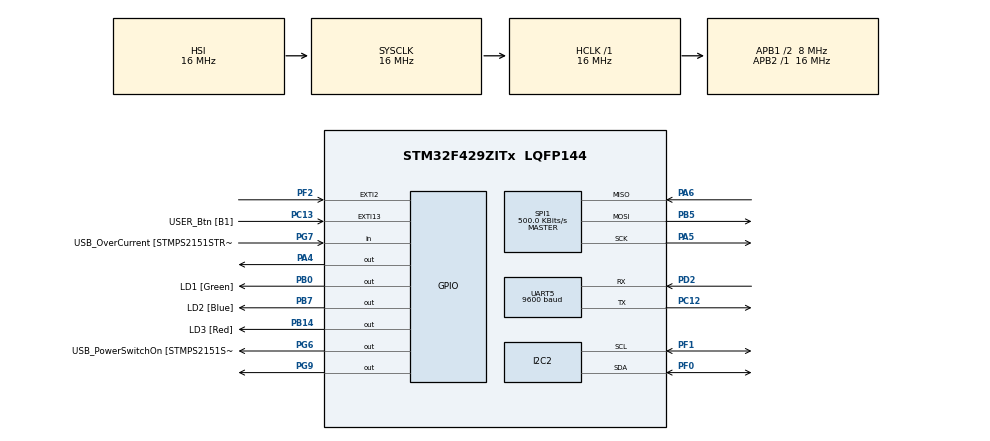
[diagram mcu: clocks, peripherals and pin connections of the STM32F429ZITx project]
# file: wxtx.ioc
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FREERTOS.Queues01=gpsToCore,3,14,1,Dynamic,NULL,NULL;thpToCore,3,6,1,Dynamic,NULL,NULL;coreToRadio,3,24,1,Dynamic,NULL,NULL
FREERTOS.Tasks01=coreTask,16,128,StartCoreTask,Default,NULL,Dynamic,NULL,NULL;radioTask,16,128,StartRadioTask,Default,NULL,Dynamic,NULL,NULL;thpTask,16,128,StartTHPTask,Default,NULL,Dynamic,NULL,NULL;gpsTask,16,128,StartGPSTask,Default,NULL,Dynamic,NULL,NULL
Mcu.Family=STM32F4
Mcu.Name=STM32F429ZITx
Mcu.Package=LQFP144
NVIC.PriorityGroup=NVIC_PRIORITYGROUP_4
NVIC.TIM7_IRQn=true\:0\:0\:false\:false\:true\:false\:false\:true
NVIC.TimeBase=TIM7_IRQn
NVIC.TimeBaseIP=TIM7
PA1.GPIO_Label=RMII_REF_CLK [LAN8742A-CZ-TR_REFCLK0]
PA1.Signal=ETH_REF_CLK
PA10.GPIO_Label=USB_ID
PA10.Signal=USB_OTG_FS_ID
PA11.GPIO_Label=USB_DM
PA11.Signal=USB_OTG_FS_DM
PA12.GPIO_Label=USB_DP
PA12.Signal=USB_OTG_FS_DP
PA13.GPIO_Label=TMS
PA13.Signal=SYS_JTMS-SWDIO
PA14.GPIO_Label=TCK
PA14.Signal=SYS_JTCK-SWCLK
PA2.GPIO_Label=RMII_MDIO [LAN8742A-CZ-TR_MDIO]
PA2.Signal=ETH_MDIO
PA4.Signal=GPIO_Output
PA5.Mode=Full_Duplex_Master
PA5.Signal=SPI1_SCK
PA6.GPIO_PuPd=GPIO_PULLDOWN
PA6.Mode=Full_Duplex_Master
PA6.Signal=SPI1_MISO
PA7.GPIO_Label=RMII_CRS_DV [LAN8742A-CZ-TR_CRS_DV]
PA7.Signal=ETH_CRS_DV
PA8.GPIO_Label=USB_SOF [TP1]
PA8.Signal=USB_OTG_FS_SOF
PA9.GPIO_Label=USB_VBUS
PA9.Signal=USB_OTG_FS_VBUS
PB0.GPIO_Label=LD1 [Green]
PB0.Signal=GPIO_Output
PB13.GPIO_Label=RMII_TXD1 [LAN8742A-CZ-TR_TXD1]
PB13.Signal=ETH_TXD1
PB14.GPIO_Label=LD3 [Red]
PB14.Signal=GPIO_Output
PB5.Mode=Full_Duplex_Master
PB5.Signal=SPI1_MOSI
PB7.GPIO_Label=LD2 [Blue]
PB7.Signal=GPIO_Output
PC1.GPIO_Label=RMII_MDC [LAN8742A-CZ-TR_MDC]
PC1.Signal=ETH_MDC
PC12.Mode=Asynchronous
PC12.Signal=UART5_TX
PC13.GPIO_Label=USER_Btn [B1]
PC13.Signal=GPXTI13
PC14/OSC32_IN.Signal=RCC_OSC32_IN
PC15/OSC32_OUT.Signal=RCC_OSC32_OUT
PC4.GPIO_Label=RMII_RXD0 [LAN8742A-CZ-TR_RXD0]
PC4.Signal=ETH_RXD0
PC5.GPIO_Label=RMII_RXD1 [LAN8742A-CZ-TR_RXD1]
PC5.Signal=ETH_RXD1
PD2.Mode=Asynchronous
PD2.Signal=UART5_RX
PD8.GPIO_Label=STLK_RX [STM32F103CBT6_PA3]
PD8.Signal=USART3_TX
PD9.GPIO_Label=STLK_TX [STM32F103CBT6_PA2]
PD9.Signal=USART3_RX
PF0.Mode=I2C
PF0.Signal=I2C2_SDA
PF1.Mode=I2C
PF1.Signal=I2C2_SCL
PF2.Signal=GPXTI2
PG11.GPIO_Label=RMII_TX_EN [LAN8742A-CZ-TR_TXEN]
PG11.Signal=ETH_TX_EN
PG13.GPIO_Label=RMII_TXD0 [LAN8742A-CZ-TR_TXD0]
PG13.Signal=ETH_TXD0
PG6.GPIO_Label=USB_PowerSwitchOn [STMPS2151STR_EN]
PG6.Signal=GPIO_Output
PG7.GPIO_Label=USB_OverCurrent [STMPS2151STR_FAULT]
PG7.Signal=GPIO_Input
PG9.Signal=GPIO_Output
PH0/OSC_IN.GPIO_Label=MCO [STM32F103CBT6_PA8]
PH0/OSC_IN.Signal=RCC_OSC_IN
PH1/OSC_OUT.Signal=RCC_OSC_OUT
ProjectManager.HeapSize=0x200
ProjectManager.StackSize=0x400
ProjectManager.TargetToolchain=STM32CubeIDE
RCC.48MHZClocksFreq_Value=48000000
RCC.AHBFreq_Value=16000000
RCC.APB1CLKDivider=RCC_HCLK_DIV2
RCC.APB1Freq_Value=8000000
RCC.APB1TimFreq_Value=16000000
RCC.APB2Freq_Value=16000000
RCC.APB2TimFreq_Value=16000000
RCC.CortexFreq_Value=16000000
RCC.HCLKFreq_Value=16000000
RCC.HSE_VALUE=8000000
RCC.HSI_VALUE=16000000
RCC.LSE_VALUE=32768
RCC.PLLMUL=RCC_PLL_MUL9
RCC.PRESCALERUSB=RCC_USBCLKSOURCE_PLL_DIV1_5
RCC.SYSCLKFreq_VALUE=16000000
RCC.SYSCLKSourceVirtual=RCC_SYSCLKSOURCE_PLLCLK
RCC.USBFreq_Value=48000000
RCC.VCOOutputFreq_Value=192000000
SPI1.BaudRatePrescaler=SPI_BAUDRATEPRESCALER_32
SPI1.CalculateBaudRate=500.0 KBits/s
SPI1.Direction=SPI_DIRECTION_2LINES
SPI1.Mode=SPI_MODE_MASTER
SPI1.VirtualType=VM_MASTER
UART5.BaudRate=9600
UART5.VirtualMode=Asynchronous
VP_FREERTOS_VS_CMSIS_V2.Mode=CMSIS_V2
VP_RTC_VS_RTC_Activate.Mode=RTC_Enabled
VP_RTC_VS_RTC_Calendar.Mode=RTC_Calendar
VP_SYS_VS_tim7.Mode=TIM7
board=NUCLEO-F429ZI

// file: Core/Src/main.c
/* USER CODE BEGIN Header */
/**
  ******************************************************************************
  * @file           : main.c
  * @brief          : Main program body
  ******************************************************************************
  * @attention
  *
  * <h2><center>&copy; Copyright (c) 2020 STMicroelectronics.
  * All rights reserved.</center></h2>
  *
  * This software component is licensed by ST under BSD 3-Clause license,
  * the "License"; You may not use this file except in compliance with the
  * License. You may obtain a copy of the License at:
  *                        opensource.org/licenses/BSD-3-Clause
  *
  ******************************************************************************
  */
/* USER CODE END Header */

#include "main.h"
#include "cmsis_os.h"

/* USER CODE BEGIN Includes */
#include "core.h"
#include "radio.h"
#include "thp.h"
#include "gps.h"
/* USER CODE END Includes */

I2C_HandleTypeDef hi2c2;

RTC_HandleTypeDef hrtc;

SPI_HandleTypeDef hspi1;

UART_HandleTypeDef huart5;

/* Definitions for coreTask */
osThreadId_t coreTaskHandle;
const osThreadAttr_t coreTask_attributes = {
  .name = "coreTask",
  .priority = (osPriority_t) osPriorityBelowNormal,
  .stack_size = 128 * 4
};
/* Definitions for radioTask */
osThreadId_t radioTaskHandle;
const osThreadAttr_t radioTask_attributes = {
  .name = "radioTask",
  .priority = (osPriority_t) osPriorityBelowNormal,
  .stack_size = 128 * 4
};
/* Definitions for thpTask */
osThreadId_t thpTaskHandle;
const osThreadAttr_t thpTask_attributes = {
  .name = "thpTask",
  .priority = (osPriority_t) osPriorityBelowNormal,
  .stack_size = 128 * 4
};
/* Definitions for gpsTask */
osThreadId_t gpsTaskHandle;
const osThreadAttr_t gpsTask_attributes = {
  .name = "gpsTask",
  .priority = (osPriority_t) osPriorityBelowNormal,
  .stack_size = 128 * 4
};
/* Definitions for gpsToCore */
osMessageQueueId_t gpsToCoreHandle;
const osMessageQueueAttr_t gpsToCore_attributes = {
  .name = "gpsToCore"
};
/* Definitions for thpToCore */
osMessageQueueId_t thpToCoreHandle;
const osMessageQueueAttr_t thpToCore_attributes = {
  .name = "thpToCore"
};
/* Definitions for coreToRadio */
osMessageQueueId_t coreToRadioHandle;
const osMessageQueueAttr_t coreToRadio_attributes = {
  .name = "coreToRadio"
};

void SystemClock_Config(void);
static void MX_GPIO_Init(void);
static void MX_I2C2_Init(void);
static void MX_RTC_Init(void);
static void MX_SPI1_Init(void);
static void MX_UART5_Init(void);
void StartCoreTask(void *argument);
void StartRadioTask(void *argument);
void StartTHPTask(void *argument);
void StartGPSTask(void *argument);

int main(void)
{

  /* MCU Configuration--------------------------------------------------------*/

  /* Reset of all peripherals, Initializes the Flash interface and the Systick. */
  HAL_Init();

  /* Configure the system clock */
  SystemClock_Config();

  /* Initialize all configured peripherals */
  MX_GPIO_Init();
  MX_I2C2_Init();
  MX_RTC_Init();
  MX_SPI1_Init();
  MX_UART5_Init();

  /* Init scheduler */
  osKernelInitialize();

  /* Create the queue(s) */
  /* creation of gpsToCore */
  gpsToCoreHandle = osMessageQueueNew (3, 14, &gpsToCore_attributes);

  /* creation of thpToCore */
  thpToCoreHandle = osMessageQueueNew (3, 6, &thpToCore_attributes);

  /* creation of coreToRadio */
  coreToRadioHandle = osMessageQueueNew (3, 24, &coreToRadio_attributes);

  /* Create the thread(s) */
  /* creation of coreTask */
  coreTaskHandle = osThreadNew(StartCoreTask, NULL, &coreTask_attributes);

  /* creation of radioTask */
  radioTaskHandle = osThreadNew(StartRadioTask, NULL, &radioTask_attributes);

  /* creation of thpTask */
  thpTaskHandle = osThreadNew(StartTHPTask, NULL, &thpTask_attributes);

  /* creation of gpsTask */
  gpsTaskHandle = osThreadNew(StartGPSTask, NULL, &gpsTask_attributes);

  /* Start scheduler */
  osKernelStart();

  /* We should never get here as control is now taken by the scheduler */
  /* Infinite loop */
  while (1)
  {

  }
}

void SystemClock_Config(void)
{
  RCC_OscInitTypeDef RCC_OscInitStruct = {0};
  RCC_ClkInitTypeDef RCC_ClkInitStruct = {0};
  RCC_PeriphCLKInitTypeDef PeriphClkInitStruct = {0};

  /** Configure the main internal regulator output voltage
  */
  __HAL_RCC_PWR_CLK_ENABLE();
  __HAL_PWR_VOLTAGESCALING_CONFIG(PWR_REGULATOR_VOLTAGE_SCALE3);
  /** Initializes the CPU, AHB and APB busses clocks
  */
  RCC_OscInitStruct.OscillatorType = RCC_OSCILLATORTYPE_HSI|RCC_OSCILLATORTYPE_LSI;
  RCC_OscInitStruct.HSIState = RCC_HSI_ON;
  RCC_OscInitStruct.HSICalibrationValue = RCC_HSICALIBRATION_DEFAULT;
  RCC_OscInitStruct.LSIState = RCC_LSI_ON;
  RCC_OscInitStruct.PLL.PLLState = RCC_PLL_NONE;
  if (HAL_RCC_OscConfig(&RCC_OscInitStruct) != HAL_OK)
  {
    Error_Handler();
  }
  /** Initializes the CPU, AHB and APB busses clocks
  */
  RCC_ClkInitStruct.ClockType = RCC_CLOCKTYPE_HCLK|RCC_CLOCKTYPE_SYSCLK
                              |RCC_CLOCKTYPE_PCLK1|RCC_CLOCKTYPE_PCLK2;
  RCC_ClkInitStruct.SYSCLKSource = RCC_SYSCLKSOURCE_HSI;
  RCC_ClkInitStruct.AHBCLKDivider = RCC_SYSCLK_DIV1;
  RCC_ClkInitStruct.APB1CLKDivider = RCC_HCLK_DIV2;
  RCC_ClkInitStruct.APB2CLKDivider = RCC_HCLK_DIV1;

  if (HAL_RCC_ClockConfig(&RCC_ClkInitStruct, FLASH_LATENCY_0) != HAL_OK)
  {
    Error_Handler();
  }
  PeriphClkInitStruct.PeriphClockSelection = RCC_PERIPHCLK_RTC;
  PeriphClkInitStruct.RTCClockSelection = RCC_RTCCLKSOURCE_LSI;
  if (HAL_RCCEx_PeriphCLKConfig(&PeriphClkInitStruct) != HAL_OK)
  {
    Error_Handler();
  }
}

static void MX_I2C2_Init(void)
{

  hi2c2.Instance = I2C2;
  hi2c2.Init.ClockSpeed = 100000;
  hi2c2.Init.DutyCycle = I2C_DUTYCYCLE_2;
  hi2c2.Init.OwnAddress1 = 0;
  hi2c2.Init.AddressingMode = I2C_ADDRESSINGMODE_7BIT;
  hi2c2.Init.DualAddressMode = I2C_DUALADDRESS_DISABLE;
  hi2c2.Init.OwnAddress2 = 0;
  hi2c2.Init.GeneralCallMode = I2C_GENERALCALL_DISABLE;
  hi2c2.Init.NoStretchMode = I2C_NOSTRETCH_DISABLE;
  if (HAL_I2C_Init(&hi2c2) != HAL_OK)
  {
    Error_Handler();
  }
  /** Configure Analogue filter
  */
  if (HAL_I2CEx_ConfigAnalogFilter(&hi2c2, I2C_ANALOGFILTER_ENABLE) != HAL_OK)
  {
    Error_Handler();
  }
  /** Configure Digital filter
  */
  if (HAL_I2CEx_ConfigDigitalFilter(&hi2c2, 0) != HAL_OK)
  {
    Error_Handler();
  }

}

static void MX_RTC_Init(void)
{

  RTC_TimeTypeDef sTime = {0};
  RTC_DateTypeDef sDate = {0};

  /** Initialize RTC Only
  */
  hrtc.Instance = RTC;
  hrtc.Init.HourFormat = RTC_HOURFORMAT_24;
  hrtc.Init.AsynchPrediv = 127;
  hrtc.Init.SynchPrediv = 255;
  hrtc.Init.OutPut = RTC_OUTPUT_DISABLE;
  hrtc.Init.OutPutPolarity = RTC_OUTPUT_POLARITY_HIGH;
  hrtc.Init.OutPutType = RTC_OUTPUT_TYPE_OPENDRAIN;
  if (HAL_RTC_Init(&hrtc) != HAL_OK)
  {
    Error_Handler();
  }

  /** Initialize RTC and set the Time and Date
  */
  sTime.Hours = 0x0;
  sTime.Minutes = 0x0;
  sTime.Seconds = 0x0;
  sTime.DayLightSaving = RTC_DAYLIGHTSAVING_NONE;
  sTime.StoreOperation = RTC_STOREOPERATION_RESET;
  if (HAL_RTC_SetTime(&hrtc, &sTime, RTC_FORMAT_BCD) != HAL_OK)
  {
    Error_Handler();
  }
  sDate.WeekDay = RTC_WEEKDAY_MONDAY;
  sDate.Month = RTC_MONTH_JANUARY;
  sDate.Date = 0x1;
  sDate.Year = 0x0;

  if (HAL_RTC_SetDate(&hrtc, &sDate, RTC_FORMAT_BCD) != HAL_OK)
  {
    Error_Handler();
  }

}

static void MX_SPI1_Init(void)
{

  /* SPI1 parameter configuration*/
  hspi1.Instance = SPI1;
  hspi1.Init.Mode = SPI_MODE_MASTER;
  hspi1.Init.Direction = SPI_DIRECTION_2LINES;
  hspi1.Init.DataSize = SPI_DATASIZE_8BIT;
  hspi1.Init.CLKPolarity = SPI_POLARITY_LOW;
  hspi1.Init.CLKPhase = SPI_PHASE_1EDGE;
  hspi1.Init.NSS = SPI_NSS_SOFT;
  hspi1.Init.BaudRatePrescaler = SPI_BAUDRATEPRESCALER_32;
  hspi1.Init.FirstBit = SPI_FIRSTBIT_MSB;
  hspi1.Init.TIMode = SPI_TIMODE_DISABLE;
  hspi1.Init.CRCCalculation = SPI_CRCCALCULATION_DISABLE;
  hspi1.Init.CRCPolynomial = 10;
  if (HAL_SPI_Init(&hspi1) != HAL_OK)
  {
    Error_Handler();
  }

}

static void MX_UART5_Init(void)
{

  huart5.Instance = UART5;
  huart5.Init.BaudRate = 9600;
  huart5.Init.WordLength = UART_WORDLENGTH_8B;
  huart5.Init.StopBits = UART_STOPBITS_1;
  huart5.Init.Parity = UART_PARITY_NONE;
  huart5.Init.Mode = UART_MODE_TX_RX;
  huart5.Init.HwFlowCtl = UART_HWCONTROL_NONE;
  huart5.Init.OverSampling = UART_OVERSAMPLING_16;
  if (HAL_UART_Init(&huart5) != HAL_OK)
  {
    Error_Handler();
  }

}

static void MX_GPIO_Init(void)
{
  GPIO_InitTypeDef GPIO_InitStruct = {0};

  /* GPIO Ports Clock Enable */
  __HAL_RCC_GPIOC_CLK_ENABLE();
  __HAL_RCC_GPIOF_CLK_ENABLE();
  __HAL_RCC_GPIOH_CLK_ENABLE();
  __HAL_RCC_GPIOA_CLK_ENABLE();
  __HAL_RCC_GPIOB_CLK_ENABLE();
  __HAL_RCC_GPIOD_CLK_ENABLE();
  __HAL_RCC_GPIOG_CLK_ENABLE();

  /*Configure GPIO pin Output Level */
  HAL_GPIO_WritePin(GPIOA, GPIO_PIN_4, GPIO_PIN_RESET);

  /*Configure GPIO pin Output Level */
  HAL_GPIO_WritePin(GPIOB, LD1_Pin|LD3_Pin|LD2_Pin, GPIO_PIN_RESET);

  /*Configure GPIO pin Output Level */
  HAL_GPIO_WritePin(GPIOG, USB_PowerSwitchOn_Pin|GPIO_PIN_9, GPIO_PIN_RESET);

  /*Configure GPIO pin : USER_Btn_Pin */
  GPIO_InitStruct.Pin = USER_Btn_Pin;
  GPIO_InitStruct.Mode = GPIO_MODE_IT_RISING;
  GPIO_InitStruct.Pull = GPIO_NOPULL;
  HAL_GPIO_Init(USER_Btn_GPIO_Port, &GPIO_InitStruct);

  /*Configure GPIO pin : PF2 */
  GPIO_InitStruct.Pin = GPIO_PIN_2;
  GPIO_InitStruct.Mode = GPIO_MODE_IT_RISING;
  GPIO_InitStruct.Pull = GPIO_NOPULL;
  HAL_GPIO_Init(GPIOF, &GPIO_InitStruct);

  /*Configure GPIO pins : RMII_MDC_Pin RMII_RXD0_Pin RMII_RXD1_Pin */
  GPIO_InitStruct.Pin = RMII_MDC_Pin|RMII_RXD0_Pin|RMII_RXD1_Pin;
  GPIO_InitStruct.Mode = GPIO_MODE_AF_PP;
  GPIO_InitStruct.Pull = GPIO_NOPULL;
  GPIO_InitStruct.Speed = GPIO_SPEED_FREQ_VERY_HIGH;
  GPIO_InitStruct.Alternate = GPIO_AF11_ETH;
  HAL_GPIO_Init(GPIOC, &GPIO_InitStruct);

  /*Configure GPIO pins : RMII_REF_CLK_Pin RMII_MDIO_Pin RMII_CRS_DV_Pin */
  GPIO_InitStruct.Pin = RMII_REF_CLK_Pin|RMII_MDIO_Pin|RMII_CRS_DV_Pin;
  GPIO_InitStruct.Mode = GPIO_MODE_AF_PP;
  GPIO_InitStruct.Pull = GPIO_NOPULL;
  GPIO_InitStruct.Speed = GPIO_SPEED_FREQ_VERY_HIGH;
  GPIO_InitStruct.Alternate = GPIO_AF11_ETH;
  HAL_GPIO_Init(GPIOA, &GPIO_InitStruct);

  /*Configure GPIO pin : PA4 */
  GPIO_InitStruct.Pin = GPIO_PIN_4;
  GPIO_InitStruct.Mode = GPIO_MODE_OUTPUT_PP;
  GPIO_InitStruct.Pull = GPIO_NOPULL;
  GPIO_InitStruct.Speed = GPIO_SPEED_FREQ_LOW;
  HAL_GPIO_Init(GPIOA, &GPIO_InitStruct);

  /*Configure GPIO pins : LD1_Pin LD3_Pin LD2_Pin */
  GPIO_InitStruct.Pin = LD1_Pin|LD3_Pin|LD2_Pin;
  GPIO_InitStruct.Mode = GPIO_MODE_OUTPUT_PP;
  GPIO_InitStruct.Pull = GPIO_NOPULL;
  GPIO_InitStruct.Speed = GPIO_SPEED_FREQ_LOW;
  HAL_GPIO_Init(GPIOB, &GPIO_InitStruct);

  /*Configure GPIO pin : RMII_TXD1_Pin */
  GPIO_InitStruct.Pin = RMII_TXD1_Pin;
  GPIO_InitStruct.Mode = GPIO_MODE_AF_PP;
  GPIO_InitStruct.Pull = GPIO_NOPULL;
  GPIO_InitStruct.Speed = GPIO_SPEED_FREQ_VERY_HIGH;
  GPIO_InitStruct.Alternate = GPIO_AF11_ETH;
  HAL_GPIO_Init(RMII_TXD1_GPIO_Port, &GPIO_InitStruct);

  /*Configure GPIO pins : STLK_RX_Pin STLK_TX_Pin */
  GPIO_InitStruct.Pin = STLK_RX_Pin|STLK_TX_Pin;
  GPIO_InitStruct.Mode = GPIO_MODE_AF_PP;
  GPIO_InitStruct.Pull = GPIO_NOPULL;
  GPIO_InitStruct.Speed = GPIO_SPEED_FREQ_VERY_HIGH;
  GPIO_InitStruct.Alternate = GPIO_AF7_USART3;
  HAL_GPIO_Init(GPIOD, &GPIO_InitStruct);

  /*Configure GPIO pins : USB_PowerSwitchOn_Pin PG9 */
  GPIO_InitStruct.Pin = USB_PowerSwitchOn_Pin|GPIO_PIN_9;
  GPIO_InitStruct.Mode = GPIO_MODE_OUTPUT_PP;
  GPIO_InitStruct.Pull = GPIO_NOPULL;
  GPIO_InitStruct.Speed = GPIO_SPEED_FREQ_LOW;
  HAL_GPIO_Init(GPIOG, &GPIO_InitStruct);

  /*Configure GPIO pin : USB_OverCurrent_Pin */
  GPIO_InitStruct.Pin = USB_OverCurrent_Pin;
  GPIO_InitStruct.Mode = GPIO_MODE_INPUT;
  GPIO_InitStruct.Pull = GPIO_NOPULL;
  HAL_GPIO_Init(USB_OverCurrent_GPIO_Port, &GPIO_InitStruct);

  /*Configure GPIO pins : USB_SOF_Pin USB_ID_Pin USB_DM_Pin USB_DP_Pin */
  GPIO_InitStruct.Pin = USB_SOF_Pin|USB_ID_Pin|USB_DM_Pin|USB_DP_Pin;
  GPIO_InitStruct.Mode = GPIO_MODE_AF_PP;
  GPIO_InitStruct.Pull = GPIO_NOPULL;
  GPIO_InitStruct.Speed = GPIO_SPEED_FREQ_VERY_HIGH;
  GPIO_InitStruct.Alternate = GPIO_AF10_OTG_FS;
  HAL_GPIO_Init(GPIOA, &GPIO_InitStruct);

  /*Configure GPIO pin : USB_VBUS_Pin */
  GPIO_InitStruct.Pin = USB_VBUS_Pin;
  GPIO_InitStruct.Mode = GPIO_MODE_INPUT;
  GPIO_InitStruct.Pull = GPIO_NOPULL;
  HAL_GPIO_Init(USB_VBUS_GPIO_Port, &GPIO_InitStruct);

  /*Configure GPIO pins : RMII_TX_EN_Pin RMII_TXD0_Pin */
  GPIO_InitStruct.Pin = RMII_TX_EN_Pin|RMII_TXD0_Pin;
  GPIO_InitStruct.Mode = GPIO_MODE_AF_PP;
  GPIO_InitStruct.Pull = GPIO_NOPULL;
  GPIO_InitStruct.Speed = GPIO_SPEED_FREQ_VERY_HIGH;
  GPIO_InitStruct.Alternate = GPIO_AF11_ETH;
  HAL_GPIO_Init(GPIOG, &GPIO_InitStruct);

}

void StartCoreTask(void *argument)
{
  /* USER CODE BEGIN 5 */
  Core_Set_RTC_Handle( &hrtc );
  Core_Set_THP_Message_Queue( thpToCoreHandle );
  Core_Set_GPS_Message_Queue( gpsToCoreHandle );
  Core_Set_Radio_Message_Queue( coreToRadioHandle );
  /* Infinite loop */
  for(;;)
  {
    Core_Run();
    osThreadYield();
  }
  /* USER CODE END 5 */
}

void StartRadioTask(void *argument)
{
  /* USER CODE BEGIN StartRadioTask */
  Radio_Set_SPI( &hspi1 );
  Radio_Set_Reset_Pin( GPIOG, GPIO_PIN_9 );
  Radio_Set_NCS_Pin( GPIOA, GPIO_PIN_4 );
  Radio_Set_Message_Queue( coreToRadioHandle );
  /* Infinite loop */
  for(;;)
  {
    Radio_Run();
    osThreadYield();
  }
  /* USER CODE END StartRadioTask */
}

void StartTHPTask(void *argument)
{
  /* USER CODE BEGIN StartTHPTask */
  THP_Set_I2C( &hi2c2 );
  THP_Set_Message_Queue( thpToCoreHandle );
  /* Infinite loop */
  for(;;)
  {
    THP_Run();
    osThreadYield();
  }
  /* USER CODE END StartTHPTask */
}

void StartGPSTask(void *argument)
{
  /* USER CODE BEGIN StartGPSTask */
  GPS_Set_UART( &huart5 );
  GPS_Set_Message_Queue( gpsToCoreHandle );
  /* Infinite loop */
  for(;;)
  {
    GPS_Run();
    osThreadYield();
  }
  /* USER CODE END StartGPSTask */
}

 /**
  * @brief  Period elapsed callback in non blocking mode
  * @note   This function is called  when TIM7 interrupt took place, inside
  * HAL_TIM_IRQHandler(). It makes a direct call to HAL_IncTick() to increment
  * a global variable "uwTick" used as application time base.
  * @param  htim : TIM handle
  * @retval None
  */
void HAL_TIM_PeriodElapsedCallback(TIM_HandleTypeDef *htim)
{
  if (htim->Instance == TIM7) {
    HAL_IncTick();
  }
}

void Error_Handler(void)
{
}

/************************ (C) COPYRIGHT STMicroelectronics *****END OF FILE****/
